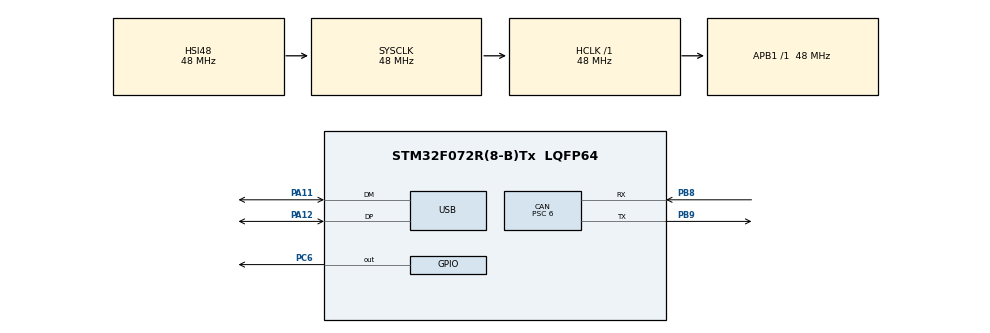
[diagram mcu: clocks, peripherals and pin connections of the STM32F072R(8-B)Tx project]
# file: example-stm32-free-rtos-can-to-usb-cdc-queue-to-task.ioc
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CAN.ABOM=ENABLE
CAN.AWUM=ENABLE
CAN.BS1=CAN_BS1_10TQ
CAN.BS2=CAN_BS2_5TQ
CAN.CalculateBaudRate=500000
CAN.CalculateTimeBit=2000
CAN.CalculateTimeQuantum=125.0
CAN.NART=ENABLE
CAN.Prescaler=6
FREERTOS.Tasks01=ReceiveCanData,2,128,vReceiveCanData,Default,NULL,Dynamic,NULL,NULL
FREERTOS.configUSE_NEWLIB_REENTRANT=1
Mcu.Family=STM32F0
Mcu.Name=STM32F072R(8-B)Tx
Mcu.Package=LQFP64
NVIC.CEC_CAN_IRQn=true\:3\:0\:false\:false\:true\:true\:true\:true\:true
NVIC.TIM6_DAC_IRQn=true\:3\:0\:false\:false\:true\:false\:false\:true\:true
NVIC.TimeBase=TIM6_DAC_IRQn
NVIC.TimeBaseIP=TIM6
NVIC.USB_IRQn=true\:3\:0\:false\:false\:true\:true\:true\:true\:true
PA11.Mode=Device
PA11.Signal=USB_DM
PA12.Mode=Device
PA12.Signal=USB_DP
PB8.Mode=CAN_Activate
PB8.Signal=CAN_RX
PB9.Mode=CAN_Activate
PB9.Signal=CAN_TX
PC6.Signal=GPIO_Output
ProjectManager.HeapSize=0x200
ProjectManager.StackSize=0x400
ProjectManager.TargetToolchain=STM32CubeIDE
RCC.AHBFreq_Value=48000000
RCC.APB1Freq_Value=48000000
RCC.APB1TimFreq_Value=48000000
RCC.HCLKFreq_Value=48000000
RCC.PLLMUL=RCC_PLL_MUL8
RCC.SYSCLKFreq_VALUE=48000000
RCC.SYSCLKSource=RCC_SYSCLKSOURCE_HSI48
RCC.USBFreq_Value=48000000
USB_DEVICE.CLASS_NAME_FS=CDC
USB_DEVICE.VirtualMode=Cdc
USB_DEVICE.VirtualModeFS=Cdc_FS
VP_FREERTOS_VS_CMSIS_V1.Mode=CMSIS_V1
VP_SYS_VS_tim6.Mode=TIM6
VP_USB_DEVICE_VS_USB_DEVICE_CDC_FS.Mode=CDC_FS
board=custom

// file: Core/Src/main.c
/* USER CODE BEGIN Header */
/**
  ******************************************************************************
  * @file           : main.c
  * @brief          : Main program body
  ******************************************************************************
  * @attention
  *
  * Copyright (c) 2022 STMicroelectronics.
  * All rights reserved.
  *
  * This software is licensed under terms that can be found in the LICENSE file
  * in the root directory of this software component.
  * If no LICENSE file comes with this software, it is provided AS-IS.
  *
  ******************************************************************************
  */
/* USER CODE END Header */
#include "main.h"
#include "cmsis_os.h"
#include "usb_device.h"

/* USER CODE BEGIN Includes */
#include <stdio.h>
#include <string.h>
#include "usbd_cdc_if.h"
/* USER CODE END Includes */

CAN_HandleTypeDef hcan;

osThreadId ReceiveCanDataHandle;
/* USER CODE BEGIN PV */

/* Queue Handler Definition */
QueueHandle_t qFromCanIsrToTaskHandle;

/* Can RX definitions */
uint8_t ucCanRxData[8];
CAN_RxHeaderTypeDef RxHeader;

/* USER CODE END PV */

void SystemClock_Config(void);
static void MX_GPIO_Init(void);
static void MX_CAN_Init(void);
void vReceiveCanData(void const * argument);

/* USER CODE BEGIN PFP */
void vCanSetup(CAN_HandleTypeDef *hcan);
/* USER CODE END PFP */

/* USER CODE BEGIN 0 */
// Define memory pool
static uint64_t UsbCdcTxCount;
static uint64_t CanRxCount;
static uint8_t CanMsgReceived;
uint8_t CanTxBuffer[26] = {0};
/* USER CODE END 0 */

int main(void)
{

  /* MCU Configuration--------------------------------------------------------*/

  /* Reset of all peripherals, Initializes the Flash interface and the Systick. */
  HAL_Init();

  /* Configure the system clock */
  SystemClock_Config();

  /* Initialize all configured peripherals */
  MX_GPIO_Init();
  MX_CAN_Init();
  /* USER CODE BEGIN 2 */

  // Can sleep mode request
  HAL_CAN_RequestSleep(&hcan);
  //Can bus set-up
  vCanSetup(&hcan);

  /* USER CODE END 2 */

  /* USER CODE BEGIN RTOS_QUEUES */
  /* add queues, ... */
  qFromCanIsrToTaskHandle  = xQueueCreate(10, sizeof(CanTxBuffer));
  /* USER CODE END RTOS_QUEUES */

  /* Create the thread(s) */
  /* definition and creation of ReceiveCanData */
  osThreadDef(ReceiveCanData, vReceiveCanData, osPriorityHigh, 0, 128);
  ReceiveCanDataHandle = osThreadCreate(osThread(ReceiveCanData), NULL);

  /* Start scheduler */
  osKernelStart();

  /* We should never get here as control is now taken by the scheduler */
  /* Infinite loop */
  while (1)
  {

  }
}

void SystemClock_Config(void)
{
  RCC_OscInitTypeDef RCC_OscInitStruct = {0};
  RCC_ClkInitTypeDef RCC_ClkInitStruct = {0};
  RCC_PeriphCLKInitTypeDef PeriphClkInit = {0};

  /** Initializes the RCC Oscillators according to the specified parameters
  * in the RCC_OscInitTypeDef structure.
  */
  RCC_OscInitStruct.OscillatorType = RCC_OSCILLATORTYPE_HSI48;
  RCC_OscInitStruct.HSI48State = RCC_HSI48_ON;
  RCC_OscInitStruct.PLL.PLLState = RCC_PLL_NONE;
  if (HAL_RCC_OscConfig(&RCC_OscInitStruct) != HAL_OK)
  {
    Error_Handler();
  }

  /** Initializes the CPU, AHB and APB buses clocks
  */
  RCC_ClkInitStruct.ClockType = RCC_CLOCKTYPE_HCLK|RCC_CLOCKTYPE_SYSCLK
                              |RCC_CLOCKTYPE_PCLK1;
  RCC_ClkInitStruct.SYSCLKSource = RCC_SYSCLKSOURCE_HSI48;
  RCC_ClkInitStruct.AHBCLKDivider = RCC_SYSCLK_DIV1;
  RCC_ClkInitStruct.APB1CLKDivider = RCC_HCLK_DIV1;

  if (HAL_RCC_ClockConfig(&RCC_ClkInitStruct, FLASH_LATENCY_1) != HAL_OK)
  {
    Error_Handler();
  }
  PeriphClkInit.PeriphClockSelection = RCC_PERIPHCLK_USB;
  PeriphClkInit.UsbClockSelection = RCC_USBCLKSOURCE_HSI48;

  if (HAL_RCCEx_PeriphCLKConfig(&PeriphClkInit) != HAL_OK)
  {
    Error_Handler();
  }
}

static void MX_CAN_Init(void)
{

  hcan.Instance = CAN;
  hcan.Init.Prescaler = 6;
  hcan.Init.Mode = CAN_MODE_NORMAL;
  hcan.Init.SyncJumpWidth = CAN_SJW_1TQ;
  hcan.Init.TimeSeg1 = CAN_BS1_10TQ;
  hcan.Init.TimeSeg2 = CAN_BS2_5TQ;
  hcan.Init.TimeTriggeredMode = DISABLE;
  hcan.Init.AutoBusOff = ENABLE;
  hcan.Init.AutoWakeUp = ENABLE;
  hcan.Init.AutoRetransmission = ENABLE;
  hcan.Init.ReceiveFifoLocked = DISABLE;
  hcan.Init.TransmitFifoPriority = DISABLE;
  if (HAL_CAN_Init(&hcan) != HAL_OK)
  {
    Error_Handler();
  }

}

static void MX_GPIO_Init(void)
{
  GPIO_InitTypeDef GPIO_InitStruct = {0};

  /* GPIO Ports Clock Enable */
  __HAL_RCC_GPIOC_CLK_ENABLE();
  __HAL_RCC_GPIOA_CLK_ENABLE();
  __HAL_RCC_GPIOB_CLK_ENABLE();

  /*Configure GPIO pin Output Level */
  HAL_GPIO_WritePin(GPIOC, GPIO_PIN_6, GPIO_PIN_RESET);

  /*Configure GPIO pin : PC6 */
  GPIO_InitStruct.Pin = GPIO_PIN_6;
  GPIO_InitStruct.Mode = GPIO_MODE_OUTPUT_PP;
  GPIO_InitStruct.Pull = GPIO_NOPULL;
  GPIO_InitStruct.Speed = GPIO_SPEED_FREQ_LOW;
  HAL_GPIO_Init(GPIOC, &GPIO_InitStruct);

}

/* USER CODE BEGIN 4 */
void vCanSetup(CAN_HandleTypeDef *hcan)
{
  CAN_FilterTypeDef sFilterConfig;

  /*##-2- Configure the CAN Filter ###########################################*/
  sFilterConfig.FilterBank = 0;
  sFilterConfig.FilterMode = CAN_FILTERMODE_IDMASK;
  sFilterConfig.FilterScale = CAN_FILTERSCALE_32BIT;
  sFilterConfig.FilterIdHigh = 0x0000;
  sFilterConfig.FilterIdLow = 0x0000;
  sFilterConfig.FilterMaskIdHigh = 0x0000;
  sFilterConfig.FilterMaskIdLow = 0x0000;
  sFilterConfig.FilterFIFOAssignment = CAN_RX_FIFO0;
  sFilterConfig.FilterActivation = ENABLE;
  sFilterConfig.SlaveStartFilterBank = 10;
  if (HAL_CAN_ConfigFilter(hcan, &sFilterConfig) != HAL_OK)
  {
      /* Filter configuration Error */
      Error_Handler();
  }

  /*##-3- Start the CAN peripheral ###########################################*/
  if (HAL_CAN_Start(hcan) != HAL_OK)
  {
      /* Start Error */
      Error_Handler();
  }

  /*##-4- Activate CAN RX notification #######################################*/
  if (HAL_CAN_ActivateNotification(hcan, CAN_IT_RX_FIFO0_MSG_PENDING) != HAL_OK)
  {
    /* Notification Error */
    Error_Handler();
  }
}

void HAL_CAN_RxFifo0MsgPendingCallback(CAN_HandleTypeDef *hcan)
{
  BaseType_t xHigherPriorityTaskWoken;

  // Allocate memory for the can message structure
  //CAN_Msg_st *stCanMsgFromIsrTX = osPoolCAlloc(mPoolCanMsgQueue1);

  // No. of CAN MSG received count
  CanRxCount++;

  // Read can message
  HAL_CAN_GetRxMessage(hcan, CAN_RX_FIFO0, &RxHeader, ucCanRxData);

  sprintf(CanTxBuffer,"$%03X_%X_%02X%02X%02X%02X%02X%02X%02X%02X#",
                          (unsigned int)(RxHeader.StdId),\
                          (unsigned int)(RxHeader.DLC),\
                          ucCanRxData[0],\
                          ucCanRxData[1],\
                          ucCanRxData[2],\
                          ucCanRxData[3],\
                          ucCanRxData[4],\
                          ucCanRxData[5],\
                          ucCanRxData[6],\
                          ucCanRxData[7]);

  // queue status
  CanMsgReceived = 1;

  // Queue 1 transmission
  if(qFromCanIsrToTaskHandle != 0)
  {
    if(xQueueSendToBackFromISR(qFromCanIsrToTaskHandle, (void *)&CanTxBuffer, &xHigherPriorityTaskWoken) == pdTRUE)
    {
      portYIELD_FROM_ISR(xHigherPriorityTaskWoken);
    }
  }
}

/* USER CODE END 4 */

void vReceiveCanData(void const * argument)
{
  /* init code for USB_DEVICE */
  MX_USB_DEVICE_Init();
  /* USER CODE BEGIN 5 */

  // Wake up the CAN
  HAL_CAN_WakeUp(&hcan);

  /* Infinite loop */
  for(;;)
  {
    // Queue 1 reception
      if(qFromCanIsrToTaskHandle !=0 && CanMsgReceived ==1)
      {
        CanMsgReceived=0;
        if(xQueueReceive(qFromCanIsrToTaskHandle, (void *)&CanTxBuffer, (TickType_t)0) == pdPASS)
        {
          if(CDC_Transmit_FS(CanTxBuffer, sizeof(CanTxBuffer))==USBD_OK)
          {
            UsbCdcTxCount++;
          }
        }
      }
  }
  /* USER CODE END 5 */
}

void HAL_TIM_PeriodElapsedCallback(TIM_HandleTypeDef *htim)
{
  if (htim->Instance == TIM6) {
    HAL_IncTick();
  }
}

void Error_Handler(void)
{
  __disable_irq();
  while (1)
  {
  }
}
